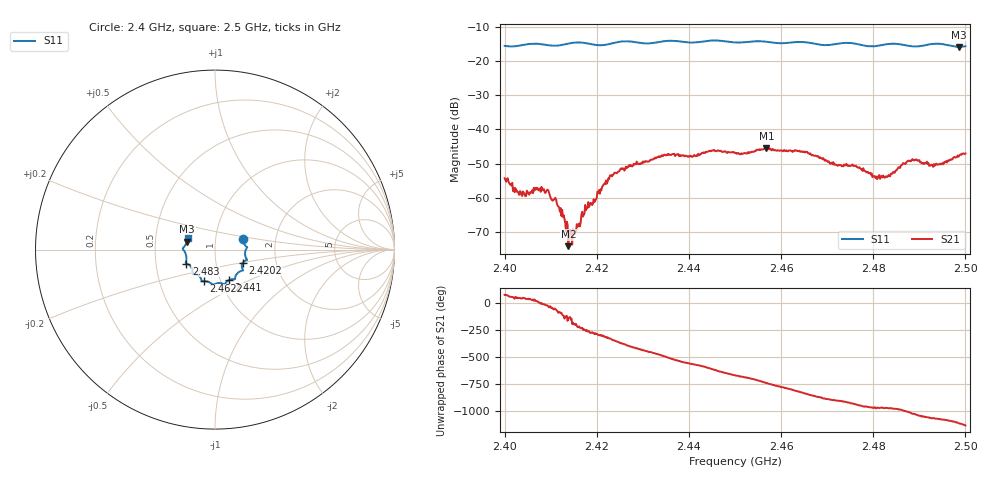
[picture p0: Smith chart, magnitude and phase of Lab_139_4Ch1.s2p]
# Hz S RI R 50
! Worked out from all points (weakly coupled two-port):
!   601 points, 2.4 GHz to 2.5 GHz, reference 50 ohm
!   highest |S21| = -45.48 dB at 2.4568 GHz (marker M1); lowest = -74.2 dB at 2.4138 GHz (marker M2)
!   lowest |S11| = -15.8 dB at 2.4987 GHz (marker M3), VSWR 1.39, Z = 36.4 + j3.32 ohm
!   |S11| at or under -10 dB: start of sweep to end of sweep
!   S12 and S22 are empty: the file has one direction only
!   S11 on the Smith chart (normalised r, x): 2.4 GHz: 1.36, +0.17; 2.4202 GHz: 1.35, -0.20; 2.441 GHz: 1.09, -0.39; 2.4622 GHz: 0.83, -0.30; 2.483 GHz: 0.72, -0.12; 2.5 GHz: 0.73, +0.09
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2.4e9  0.1562 0.0599  0.000643 0.00181  0 0  0 0
2.404167e9  0.1725 0.0186  0.000879 0.000779  0 0  0 0
2.406833e9  0.1795 0.0122  0.00129 0.000288  0 0  0 0
2.409333e9  0.1717 -0.00103  0.00115 -0.000629  0 0  0 0
2.411333e9  0.167 -0.0228  0.000232 -0.000794  0 0  0 0
2.413833e9  0.1741 -0.0483  -0.000157 -0.000116  0 0  0 0
2.415e9  0.178 -0.0546  -0.000302 0.000114  0 0  0 0
2.416667e9  0.1779 -0.0582  -0.000318 0.000467  0 0  0 0
2.420167e9  0.1557 -0.072  0.000516 0.00111  0 0  0 0
2.423333e9  0.1509 -0.1023  0.00198 0.000555  0 0  0 0
2.433333e9  0.1129 -0.1525  -0.0019 -0.00344  0 0  0 0
2.441e9  0.0766 -0.1706  -0.00347 0.00214  0 0  0 0
2.45e9  0.0264 -0.186  0.00301 0.0034  0 0  0 0
2.456833e9  -0.0174 -0.1914  0.00489 -0.00211  0 0  0 0
2.462167e9  -0.0637 -0.1764  0.000664 -0.00479  0 0  0 0
2.466667e9  -0.0763 -0.1667  -0.00313 -0.00276  0 0  0 0
2.483e9  -0.1592 -0.0782  -0.000568 0.00192  0 0  0 0
2.483333e9  -0.1606 -0.0774  -0.000463 0.0021  0 0  0 0
2.488e9  -0.1592 -0.0481  0.00153 0.00315  0 0  0 0
2.492833e9  -0.1784 0.00241  0.00293 0.000585  0 0  0 0
2.498667e9  -0.1555 0.0444  0.00329 -0.00247  0 0  0 0
2.5e9  -0.1527 0.0633  0.00249 -0.00367  0 0  0 0
